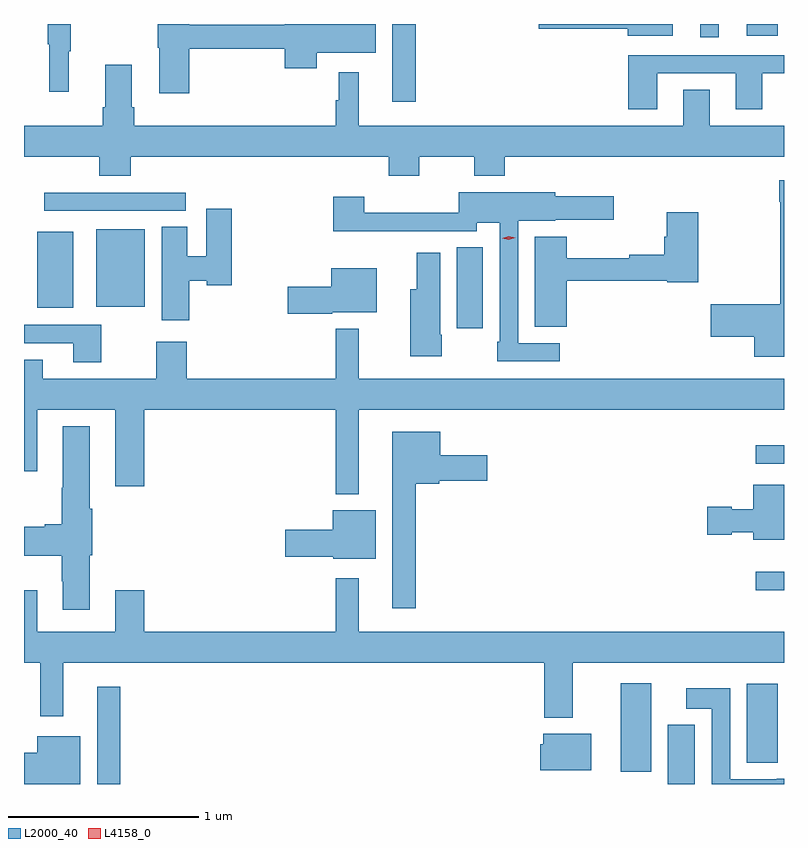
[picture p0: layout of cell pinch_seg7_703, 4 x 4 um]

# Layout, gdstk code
import gdstk
lib = gdstk.Library(unit=1e-6, precision=1e-09)
def R(c, l, rs):  # rectangles x0, y0, x1, y1
    for r in rs: c.add(gdstk.rectangle(r[:2], r[2:], *l))
def P(c, l, *ps):  # polygons
    for p in ps: c.add(gdstk.Polygon(p, *l))
L2000_40 = (2000, 40)
L4158_0 = (4158, 0)

pinch_seg7_703 = lib.new_cell('pinch_seg7_703')
R(pinch_seg7_703, L2000_40, [(335.729,1031.947,335.851,1032.46), (338.732,1031.947,338.875,1032.259), (338.486,1032.012,338.644,1032.478), (339.149,1032.059,339.31,1032.475), (339.195,1032.966,339.344,1033.063), (339.195,1033.632,339.344,1033.73), (337.622,1034.346,337.759,1034.771), (335.414,1034.453,335.602,1034.854), (335.723,1034.459,335.98,1034.866), (335.451,1034.964,336.196,1035.06), (337.283,1035.537,337.405,1035.947), (338.903,1035.876,339.001,1035.947), (339.149,1035.884,339.31,1035.947)])
P(pinch_seg7_703, L2000_40, [(335.579,1035.803),(335.59,1035.803),(335.59,1035.947),(335.469,1035.947),(335.469,1035.84),(335.476,1035.84),(335.476,1035.591),(335.579,1035.591)],
  [(336.215,1035.816),(336.716,1035.816),(336.716,1035.713),(336.886,1035.713),(336.886,1035.797),(337.195,1035.797),(337.195,1035.947),(336.716,1035.947),(336.716,1035.944),(336.215,1035.944),(336.215,1035.947),(336.049,1035.947),(336.049,1035.821),(336.056,1035.821),(336.056,1035.582),(336.215,1035.582)],
  [(338.758,1035.947),(338.052,1035.947),(338.052,1035.923),(338.522,1035.923),(338.522,1035.884),(338.758,1035.884)],
  [(338.677,1035.687),(339.089,1035.687),(339.089,1035.498),(339.229,1035.498),(339.229,1035.687),(339.344,1035.687),(339.344,1035.783),(338.525,1035.783),(338.525,1035.498),(338.677,1035.498)],
  [(335.906,1035.248),(337.265,1035.248),(337.265,1035.149),(337.425,1035.149),(337.425,1035.248),(337.714,1035.248),(337.714,1035.149),(337.874,1035.149),(337.874,1035.248),(339.344,1035.248),(339.344,1035.412),(338.953,1035.412),(338.953,1035.602),(338.813,1035.602),(338.813,1035.412),(337.105,1035.412),(337.105,1035.694),(337.001,1035.694),(337.001,1035.545),(336.984,1035.545),(336.984,1035.412),(335.924,1035.412),(335.924,1035.508),(335.911,1035.508),(335.911,1035.733),(335.771,1035.733),(335.771,1035.508),(335.759,1035.508),(335.759,1035.412),(335.344,1035.412),(335.344,1035.248),(335.741,1035.248),(335.741,1035.149),(335.906,1035.149)],
  [(339.344,1035.124),(339.318,1035.124),(339.318,1035.011),(339.325,1035.011),(339.325,1034.471),(338.958,1034.471),(338.958,1034.3),(339.188,1034.3),(339.188,1034.195),(339.344,1034.195)],
  [(338.164,1034.268),(337.944,1034.268),(337.944,1034.912),(338.139,1034.912),(338.139,1034.918),(338.449,1034.918),(338.449,1035.04),(338.139,1035.04),(338.139,1035.061),(337.632,1035.061),(337.632,1034.954),(337.136,1034.954),(337.136,1035.037),(336.971,1035.037),(336.971,1034.855),(337.219,1034.855),(337.219,1034.856),(337.728,1034.856),(337.728,1034.9),(337.848,1034.9),(337.848,1034.275),(337.836,1034.275),(337.836,1034.172),(338.164,1034.172)],
  [(336.215,1034.596),(336.306,1034.596),(336.306,1034.573),(336.437,1034.573),(336.437,1034.974),(336.302,1034.974),(336.302,1034.725),(336.202,1034.725),(336.202,1034.879),(336.068,1034.879),(336.068,1034.388),(336.215,1034.388)],
  [(338.2,1034.596),(338.73,1034.596),(338.73,1034.588),(338.892,1034.588),(338.892,1034.956),(338.726,1034.956),(338.726,1034.826),(338.714,1034.826),(338.714,1034.732),(338.53,1034.732),(338.53,1034.714),(338.2,1034.714),(338.2,1034.827),(338.033,1034.827),(338.033,1034.353),(338.2,1034.353)],
  [(337.542,1034.311),(337.534,1034.311),(337.534,1034.743),(337.412,1034.743),(337.412,1034.551),(337.376,1034.551),(337.376,1034.199),(337.542,1034.199)],
  [(336.966,1034.429),(337.201,1034.429),(337.201,1034.662),(336.962,1034.662),(336.962,1034.564),(336.732,1034.564),(336.732,1034.422),(336.966,1034.422)],
  [(335.751,1034.364),(335.344,1034.364),(335.344,1034.268),(335.603,1034.268),(335.603,1034.166),(335.751,1034.166)],
  [(337.105,1033.916),(339.344,1033.916),(339.344,1034.08),(337.106,1034.08),(337.106,1034.344),(336.986,1034.344),(336.986,1034.08),(336.2,1034.08),(336.2,1034.275),(336.04,1034.275),(336.04,1034.08),(335.443,1034.08),(335.443,1034.179),(335.344,1034.179),(335.344,1033.593),(335.413,1033.593),(335.413,1033.916),(335.825,1033.916),(335.825,1033.515),(335.978,1033.515),(335.978,1033.916),(336.984,1033.916),(336.984,1033.472),(337.105,1033.472)],
  [(335.689,1033.152),(335.702,1033.152),(335.702,1033.396),(335.689,1033.396),(335.689,1033.831),(335.549,1033.831),(335.549,1033.505),(335.542,1033.505),(335.542,1033.313),(335.453,1033.313),(335.453,1033.3),(335.344,1033.3),(335.344,1033.148),(335.542,1033.148),(335.542,1033.014),(335.549,1033.014),(335.549,1032.864),(335.689,1032.864)],
  [(337.405,1033.526),(337.53,1033.526),(337.53,1033.544),(337.783,1033.544),(337.783,1033.678),(337.534,1033.678),(337.534,1033.801),(337.283,1033.801),(337.283,1032.873),(337.405,1032.873)],
  [(339.344,1033.522),(339.182,1033.522),(339.182,1033.393),(339.069,1033.393),(339.069,1033.406),(338.94,1033.406),(338.94,1033.259),(339.069,1033.259),(339.069,1033.271),(339.182,1033.271),(339.182,1033.232),(339.344,1033.232)],
  [(337.195,1033.387),(336.968,1033.387),(336.968,1033.286),(336.72,1033.286),(336.72,1033.144),(336.972,1033.144),(336.972,1033.133),(337.195,1033.133)],
  [(338.233,1032.584),(339.344,1032.584),(339.344,1032.748),(337.105,1032.748),(337.105,1033.03),(336.984,1033.03),(336.984,1032.748),(335.978,1032.748),(335.978,1032.967),(335.825,1032.967),(335.825,1032.748),(335.413,1032.748),(335.413,1032.967),(335.344,1032.967),(335.344,1032.584),(335.43,1032.584),(335.43,1032.303),(335.551,1032.303),(335.551,1032.584),(338.081,1032.584),(338.081,1032.296),(338.233,1032.296)],
  [(339.344,1031.974),(339.306,1031.974),(339.306,1031.973),(339.06,1031.973),(339.06,1032.451),(338.829,1032.451),(338.829,1032.344),(338.964,1032.344),(338.964,1031.947),(339.344,1031.947)],
  [(338.329,1032.211),(338.078,1032.211),(338.078,1032.156),(338.06,1032.156),(338.06,1032.02),(338.329,1032.02)],
  [(335.641,1032.199),(335.414,1032.199),(335.414,1032.111),(335.344,1032.111),(335.344,1031.947),(335.641,1031.947)])
P(pinch_seg7_703, L4158_0, [(337.896,1034.811),(337.861,1034.82),(337.861,1034.82),(337.861,1034.82),(337.896,1034.831),(337.93,1034.822),(337.93,1034.821),(337.93,1034.821)])

lib.write_gds('pinch_seg7_703.gds')
